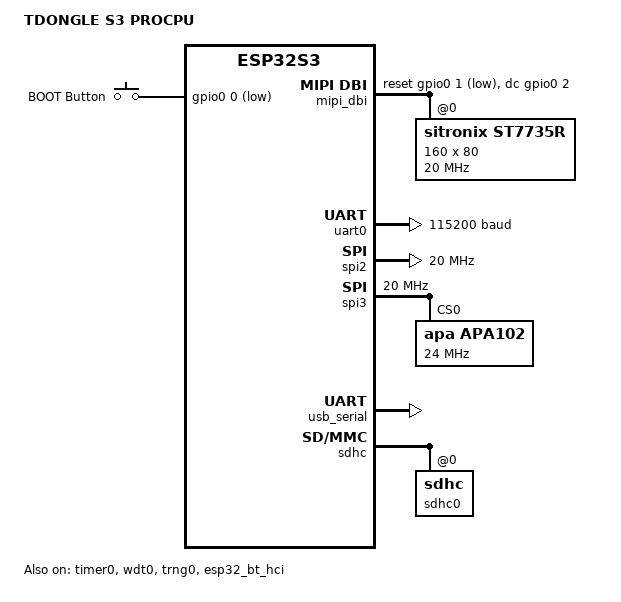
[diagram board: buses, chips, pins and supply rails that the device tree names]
/*
 * Copyright 2025 Stefan Golinschi <stefan.golinschi@gmail.com>
 *
 * SPDX-License-Identifier: Apache-2.0
 */

/dts-v1/;

#include <espressif/esp32s3/esp32s3_wroom_n16r8.dtsi>
#include "tdongle_s3-pinctrl.dtsi"
#include <zephyr/dt-bindings/input/input-event-codes.h>
#include <zephyr/dt-bindings/mipi_dbi/mipi_dbi.h>
#include <espressif/partitions_0x0_amp.dtsi>
#include <zephyr/dt-bindings/led/led.h>

/ {
	model = "TDONGLE S3 PROCPU";
	compatible = "espressif,esp32s3";

	aliases {
		watchdog0 = &wdt0;
		sdhc0 = &sdhc0;
		uart-0 = &uart0;
		sw0 = &button0;
		led-strip = &apa102;
	};

	chosen {
		zephyr,sram = &sram0;
		/* console can be UART or USB CDC */
		/* zephyr,console = &uart0; */
		/* zephyr,shell-uart = &uart0; */
		zephyr,console = &usb_serial;
		zephyr,shell-uart = &usb_serial;
		zephyr,flash = &flash0;
		zephyr,code-partition = &slot0_partition;
		zephyr,bt-hci = &esp32_bt_hci;
		zephyr,display = &st7735r;
		zephyr,sdhc = &sdhc0;
	};

	buttons {
		compatible = "gpio-keys";
		status = "okay";

		button0: button_0 {
			gpios = <&gpio0 0 (GPIO_PULL_UP | GPIO_ACTIVE_LOW)>;
			label = "BOOT Button";
			zephyr,code = <INPUT_KEY_0>;
		};
	};

	mipi_dbi {
		compatible = "zephyr,mipi-dbi-spi";
		/* Enable D/C line for 4wire mode */
		dc-gpios = <&gpio0 2 GPIO_ACTIVE_HIGH>;
		reset-gpios = <&gpio0 1 GPIO_ACTIVE_LOW>;
		spi-dev = <&spi2>;
		#address-cells = <1>;
		#size-cells = <0>;
		write-only;
		status = "okay";

		st7735r: st7735r@0 {
			compatible = "sitronix,st7735r";
			mipi-max-frequency = <20000000>;
			mipi-mode = "MIPI_DBI_MODE_SPI_4WIRE";
			reg = <0>;
			width = <160>;
			height = <80>;
			inversion-on;
			rgb-is-inverted;
			madctl = <0xBE>;
			x-offset = <1>;
			y-offset = <26>;
			gamctrp1 = [02 1c 07 12 37 32 29 2d 29 25 2B 39 00 01 03 10];
			gamctrn1 = [03 1d 07 06 2E 2C 29 2D 2E 2E 37 3F 00 00 02 10];
			te-delay = <0x0A>;
			vmctr1 = <0x0E>;
			colmod = <0x05>;
			caset = [00 02 00 81];
			raset = [00 01 00 A0];
			status = "okay";
		};
	};
};

&uart0 {
	current-speed = <115200>;
	pinctrl-0 = <&uart0_default>;
	pinctrl-names = "default";
	status = "okay";
};

&spi2 {
	#address-cells = <1>;
	#size-cells = <0>;
	cs-gpios = <&gpio0 4 GPIO_ACTIVE_LOW>;
	pinctrl-0 = <&spim2_default>;
	pinctrl-names = "default";
	clock-frequency = <20000000>;
	status = "okay";
};

&spi3 {
	#address-cells = <1>;
	#size-cells = <0>;
	pinctrl-0 = <&spim3_default>;
	pinctrl-names = "default";
	clock-frequency = <20000000>;
	status = "okay";

	apa102: apa102@0 {
		compatible = "apa,apa102";
		reg = <0>;
		spi-max-frequency = <24000000>;
		chain-length = <1>;
		color-mapping = <LED_COLOR_ID_RED
						 LED_COLOR_ID_BLUE
						 LED_COLOR_ID_GREEN>;
		status = "okay";
	};
};

&usb_serial {
	status = "okay";
};

&timer0 {
	status = "okay";
};

&wdt0 {
	status = "okay";
};

&trng0 {
	status = "okay";
};

&esp32_bt_hci {
	status = "okay";
};

&sdhc {
	sdhc0: sdhc@0 {
		pinctrl-0 = <&sdhc0_default>;
		pinctrl-names = "default";
		power-delay-ms = <100>;
		max-bus-freq = <52000000>;
		bus-width = <4>;
		status = "okay";

		mmc {
			compatible = "zephyr,sdmmc-disk";
			disk-name = "SD";
			status = "okay";
		};
	};
};
